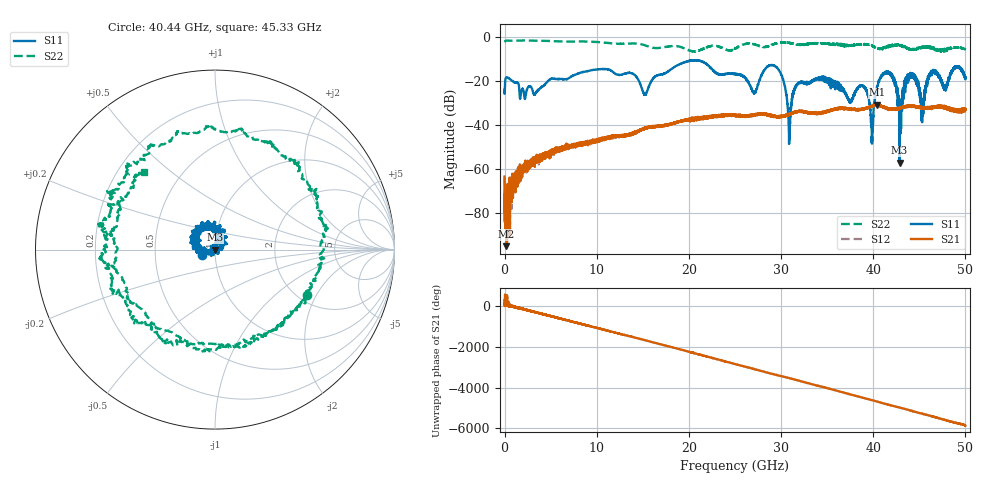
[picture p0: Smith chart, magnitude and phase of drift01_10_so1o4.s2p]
!Created with skrf (http://scikit-rf.org).
# Hz S RI R 50.0
!freq ReS11 ImS11 ReS21 ImS21 ReS12 ImS12 ReS22 ImS22
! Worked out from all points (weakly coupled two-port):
!   10001 points, 300 kHz to 50 GHz, reference 50 ohm
!   highest |S21| = -30.55 dB at 40.4 GHz (marker M1); lowest = -94.9 dB at 180.3 MHz (marker M2)
!   lowest |S11| = -56.9 dB at 42.85 GHz (marker M3), VSWR 1.00, Z = 49.9 - j0.0995 ohm
!   |S11| at or under -10 dB: start of sweep to end of sweep
!   |S22| runs from -6.6 to -1.4 dB; largest |S21 - S12| = 0.0038
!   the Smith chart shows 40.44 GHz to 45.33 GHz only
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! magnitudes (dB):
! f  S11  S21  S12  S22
! 300 kHz  -23.7  -63.2  -63.4  -2.1
! 180.3 MHz  -18.2  -94.9  -71.6  -1.4
! 2.315 GHz  -25.6  -57.1  -57.7  -1.4
! 8.335 GHz  -15.9  -48.0  -48.8  -1.8
! 13.79 GHz  -16.3  -43.8  -43.5  -2.7
! 15.23 GHz  -26.0  -41.3  -41.4  -3.5
! 16.67 GHz  -17.0  -40.5  -40.4  -4.8
! 25 GHz  -16.6  -34.9  -35.4  -5.1
! 27.11 GHz  -25.2  -35.3  -35.1  -3.1
! 29.42 GHz  -13.2  -35.8  -36.0  -2.7
! 30.91 GHz  -46.5  -34.9  -34.9  -2.5
! 31.66 GHz  -21.8  -33.7  -33.7  -3.2
! 33.34 GHz  -19.9  -34.3  -34.4  -2.7
! 38.91 GHz  -22.2  -32.4  -32.7  -3.0
! 39.84 GHz  -41.9  -31.3  -31.4  -3.8
! 40.4 GHz  -22.3  -30.5  -30.8  -4.8
! 41.67 GHz  -16.2  -32.4  -32.5  -4.3
! 42.85 GHz  -56.9  -32.3  -32.2  -3.6
! 44.07 GHz  -17.2  -31.0  -31.1  -5.3
! 45.32 GHz  -34.6  -31.9  -32.1  -4.6
! 46.42 GHz  -15.9  -31.7  -31.6  -4.6
! 50 GHz  -18.1  -32.6  -32.9  -5.4
